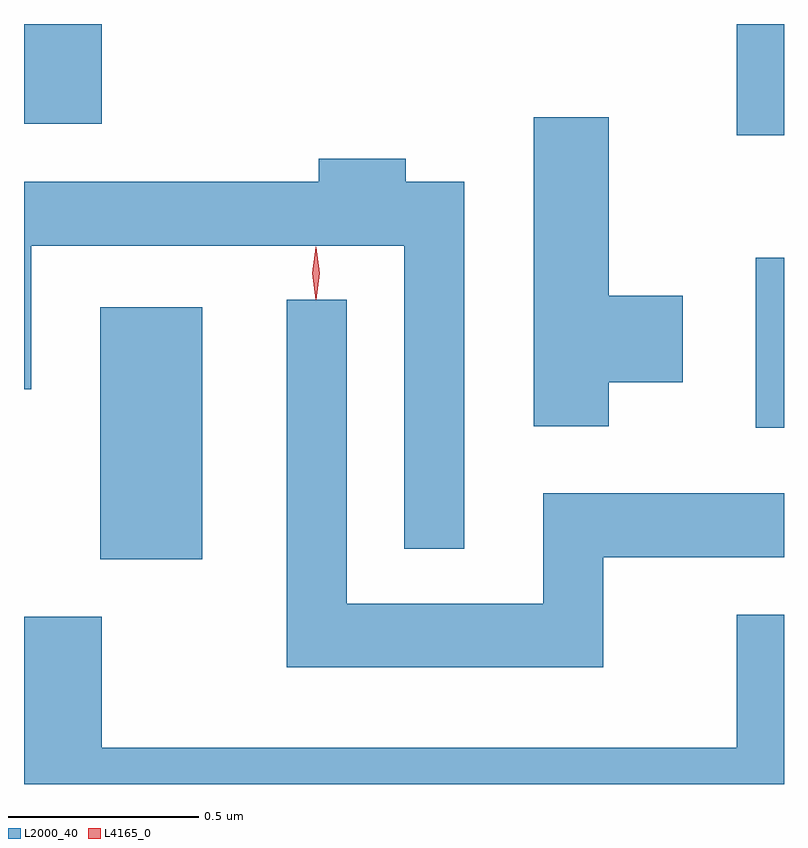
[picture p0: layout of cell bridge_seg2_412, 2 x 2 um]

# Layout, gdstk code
import gdstk
lib = gdstk.Library(unit=1e-6, precision=1e-09)
def R(c, l, rs):  # rectangles x0, y0, x1, y1
    for r in rs: c.add(gdstk.rectangle(r[:2], r[2:], *l))
def P(c, l, *ps):  # polygons
    for p in ps: c.add(gdstk.Polygon(p, *l))
L2000_40 = (2000, 40)
L4165_0 = (4165, 0)

bridge_seg2_412 = lib.new_cell('bridge_seg2_412')
R(bridge_seg2_412, L2000_40, [(631.146,1009.121,631.414,1009.784), (632.871,1009.466,632.945,1009.914), (632.821,1010.236,632.945,1010.529), (630.945,1010.266,631.149,1010.529)])
P(bridge_seg2_412, L2000_40, [(632.484,1009.586),(632.679,1009.586),(632.679,1009.814),(632.484,1009.814),(632.484,1010.284),(632.286,1010.284),(632.286,1009.471),(632.484,1009.471)],
  [(632.104,1010.114),(631.949,1010.114),(631.949,1010.174),(631.721,1010.174),(631.721,1010.114),(630.945,1010.114),(630.945,1009.568),(630.964,1009.568),(630.964,1009.946),(631.946,1009.946),(631.946,1009.148),(632.104,1009.148)],
  [(632.469,1009.126),(632.945,1009.126),(632.945,1009.294),(632.311,1009.294),(632.311,1009.004),(631.794,1009.004),(631.794,1009.803),(631.636,1009.803),(631.636,1008.836),(632.469,1008.836)],
  [(632.945,1008.974),(632.821,1008.974),(632.821,1008.624),(631.149,1008.624),(631.149,1008.969),(630.945,1008.969),(630.945,1008.529),(632.945,1008.529)])
P(bridge_seg2_412, L4165_0, [(631.713,1009.803),(631.713,1009.804),(631.703,1009.873),(631.713,1009.942),(631.713,1009.943),(631.714,1009.942),(631.723,1009.873),(631.714,1009.804)])

lib.write_gds('bridge_seg2_412.gds')
